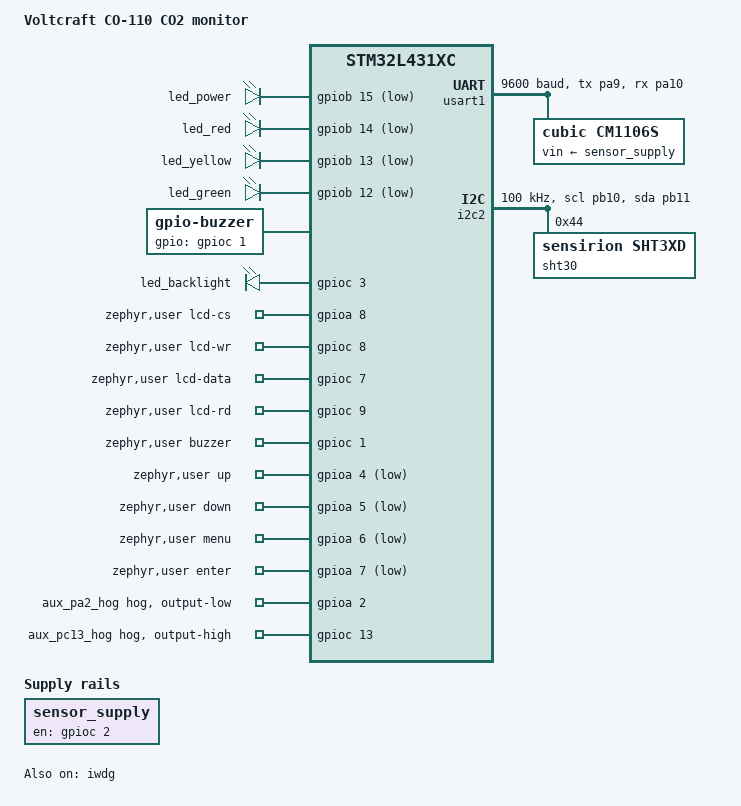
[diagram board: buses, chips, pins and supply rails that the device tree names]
/dts-v1/;
#include <st/l4/stm32l431Xc.dtsi>
#include <st/l4/stm32l431r(b-c)tx-pinctrl.dtsi>
#include <zephyr/dt-bindings/gpio/gpio.h>
#include <zephyr/dt-bindings/i2c/i2c.h>

/ {
	model = "Voltcraft CO-110 CO2 monitor";
	compatible = "voltcraft,co110";

	chosen {
		zephyr,sram = &sram0;
		zephyr,flash = &flash0;
	};

	aliases {
		led0 = &led_green;
	};

	/* LEDs are active low (anode to 3V3) */
	/* dimmable LEDs: software PWM driver (src/led_swpwm.c), Zephyr LED API */
	leds: leds {
		compatible = "voltcraft,swpwm-leds";
		led_power: led_power {	/* LD1, green */
			gpios = <&gpiob 15 GPIO_ACTIVE_LOW>;
		};
		led_red: led_red {	/* LD2 */
			gpios = <&gpiob 14 GPIO_ACTIVE_LOW>;
		};
		led_yellow: led_yellow {	/* LD3 */
			gpios = <&gpiob 13 GPIO_ACTIVE_LOW>;
		};
		led_green: led_green {	/* LD4 */
			gpios = <&gpiob 12 GPIO_ACTIVE_LOW>;
		};
	};

	/* active buzzer: Zephyr buzzer API */
	buzzer: buzzer {
		compatible = "gpio-buzzer";
		gpios = <&gpioc 1 GPIO_ACTIVE_HIGH>;
	};

	/* LCD backlight: Zephyr LED API (on/off), see src/backlight.h */
	backlight_leds: backlight {
		compatible = "gpio-leds";
		led_backlight: led_backlight {
			gpios = <&gpioc 3 GPIO_ACTIVE_HIGH>;
		};
	};

	/* CM1106S supply: regulator-fixed, off at boot; the cm1106s driver node switches it (PM resume/suspend) */
	sensor_supply: sensor-supply {
		compatible = "regulator-fixed";
		regulator-name = "cm1106s-supply";
		enable-gpios = <&gpioc 2 GPIO_ACTIVE_HIGH>;
	};

	zephyr,user {
		/* HT1625-style LCD controller, bit-banged */
		lcd-cs-gpios = <&gpioa 8 GPIO_ACTIVE_HIGH>;	/* active low on the wire, driven raw */
		lcd-wr-gpios = <&gpioc 8 GPIO_ACTIVE_HIGH>;
		lcd-data-gpios = <&gpioc 7 GPIO_ACTIVE_HIGH>;
		lcd-rd-gpios = <&gpioc 9 GPIO_ACTIVE_HIGH>;

		buzzer-gpios = <&gpioc 1 GPIO_ACTIVE_HIGH>;

		/* touch controller outputs, active low */
		up-gpios = <&gpioa 4 GPIO_ACTIVE_LOW>;
		down-gpios = <&gpioa 5 GPIO_ACTIVE_LOW>;
		menu-gpios = <&gpioa 6 GPIO_ACTIVE_LOW>;
		enter-gpios = <&gpioa 7 GPIO_ACTIVE_LOW>;
	};
};

&flash0 {
	partitions {
		compatible = "fixed-partitions";
		#address-cells = <1>;
		#size-cells = <1>;

		/* last 32 KB (16 pages of 2 KB): settings and trend logs (NVS) */
		storage_partition: partition@38000 {
			label = "storage";
			reg = <0x00038000 DT_SIZE_K(32)>;
		};
	};
};

&iwdg {
	status = "okay";
};

&clk_lsi {
	status = "okay";
};

/* MSI range 10 = 32 MHz, no PLL (as in the original firmware) */
&clk_msi {
	status = "okay";
	msi-range = <10>;
};

&rcc {
	clocks = <&clk_msi>;
	clock-frequency = <DT_FREQ_M(32)>;
	ahb-prescaler = <1>;
	apb1-prescaler = <1>;
	apb2-prescaler = <1>;
};

&gpioa {
	status = "okay";

	/* PA2: driven low by the original firmware, purpose unknown */
	aux_pa2_hog: aux-pa2-hog {
		gpio-hog;
		gpios = <2 GPIO_ACTIVE_HIGH>;
		output-low;
	};
};

&gpiob { status = "okay"; };

&gpioc {
	status = "okay";

	/* PC13: set high by the original firmware, purpose unknown */
	aux_pc13_hog: aux-pc13-hog {
		gpio-hog;
		gpios = <13 GPIO_ACTIVE_HIGH>;
		output-high;
	};
};

/* CM1106S CO2 sensor, 9600 8N1 (driver: src/cm1106s.c, Zephyr sensor API) */
&usart1 {
	pinctrl-0 = <&usart1_tx_pa9 &usart1_rx_pa10>;
	pinctrl-names = "default";
	current-speed = <9600>;
	status = "okay";

	cm1106s: cm1106s {
		compatible = "cubic,cm1106s";
		vin-supply = <&sensor_supply>;
	};
};

/* SHT30 temperature/humidity sensor at 0x44 */
&i2c2 {
	pinctrl-0 = <&i2c2_scl_pb10 &i2c2_sda_pb11>;
	pinctrl-names = "default";
	clock-frequency = <I2C_BITRATE_STANDARD>;
	status = "okay";

	sht30: sht3xd@44 {
		compatible = "sensirion,sht3xd";
		reg = <0x44>;
	};
};
